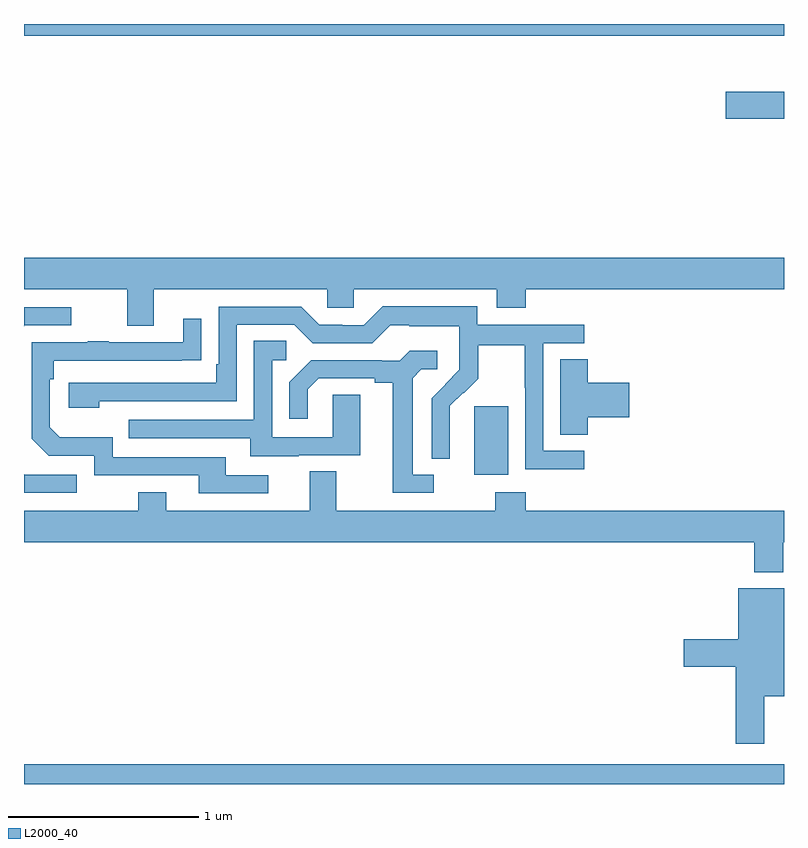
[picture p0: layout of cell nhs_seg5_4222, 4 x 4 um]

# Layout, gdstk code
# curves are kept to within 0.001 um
import gdstk
lib = gdstk.Library(unit=1e-6, precision=1e-09)
def R(c, l, rs):  # rectangles x0, y0, x1, y1
    for r in rs: c.add(gdstk.rectangle(r[:2], r[2:], *l))
def P(c, l, *ps):  # polygons
    for p in ps: c.add(gdstk.Polygon(p, *l))
L2000_40 = (2000, 40)

nhs_seg5_4222 = lib.new_cell('nhs_seg5_4222')
R(nhs_seg5_4222, L2000_40, [(359,876.799,363,876.904), (361.37,878.426,361.549,878.787), (362.694,880.301,363,880.443), (359,880.736,363,880.799)])
P(nhs_seg5_4222, L2000_40, [(359.683,879.404),(360.597,879.404),(360.597,879.306),(360.735,879.306),(360.735,879.404),(361.487,879.404),(361.487,879.305),(361.64,879.305),(361.64,879.404),(363,879.404),(363,879.568),(359,879.568),(359,879.404),(359.543,879.404),(359.543,879.21),(359.683,879.21)],
  [(361.948,878.553),(361.734,878.553),(361.734,879.12),(361.948,879.12),(361.948,879.216),(361.386,879.216),(361.386,879.313),(360.889,879.313),(360.789,879.213),(360.674,879.213),(360.674,879.216),(360.555,879.216),(360.459,879.312),(360.024,879.312),(360.024,879.007),(360.011,879.007),(360.011,878.91),(359.235,878.91),(359.235,878.78),(359.396,878.78),(359.396,878.814),(360.12,878.814),(360.12,879.216),(360.423,879.216),(360.519,879.12),(360.834,879.12),(360.927,879.213),(361.027,879.213),(361.027,879.209),(361.29,879.209),(361.29,879.075),(361.292,879.075),(361.292,878.978),(361.146,878.83),(361.146,878.512),(361.242,878.512),(361.241,878.789),(361.311,878.859),(361.314,878.856),(361.391,878.933),(361.391,879.108),(361.636,879.108),(361.636,878.884),(361.638,878.884),(361.638,878.455),(361.948,878.455)],
  [(359.004,879.213),(359.248,879.213),(359.248,879.309),(359,879.309),(359,879.209)],
  [(360.286,878.424),(360.061,878.424),(360.061,878.52),(359.466,878.52),(359.466,878.623),(359.189,878.623),(359.136,878.676),(359.136,878.93),(359.156,878.93),(359.156,879.027),(359.933,879.028),(359.933,879.247),(359.837,879.247),(359.837,879.123),(359.447,879.123),(359.447,879.128),(359.335,879.128),(359.335,879.123),(359.04,879.123),(359.04,878.616),(359.13,878.526),(359.37,878.526),(359.37,878.424),(359.921,878.424),(359.921,878.328),(360.286,878.328)],
  [(360.445,878.529),(360.769,878.529),(360.769,878.849),(360.624,878.849),(360.624,878.625),(360.306,878.625),(360.306,879.03),(360.379,879.03),(360.379,879.131),(360.21,879.131),(360.21,878.715),(359.551,878.715),(359.551,878.619),(360.191,878.619),(360.191,878.525),(360.445,878.525)],
  [(361.156,878.427),(361.045,878.427),(361.045,878.935),(361.092,878.982),(361.174,878.982),(361.174,879.079),(361.03,879.079),(360.978,879.027),(360.884,879.027),(360.884,879.03),(360.512,879.03),(360.396,878.914),(360.396,878.721),(360.493,878.721),(360.493,878.877),(360.55,878.934),(360.845,878.934),(360.845,878.912),(360.941,878.912),(360.941,878.331),(361.156,878.331)],
  [(361.967,878.729),(362.185,878.729),(362.185,878.912),(361.967,878.912),(361.967,879.035),(361.823,879.035),(361.823,878.638),(361.967,878.638)],
  [(362.995,878.072),(363,878.072),(363,878.236),(361.64,878.236),(361.64,878.335),(361.48,878.335),(361.48,878.236),(360.643,878.236),(360.643,878.444),(360.503,878.444),(360.503,878.236),(359.749,878.236),(359.749,878.335),(359.602,878.335),(359.602,878.236),(359,878.236),(359,878.072),(362.843,878.072),(362.843,877.913),(362.995,877.913)],
  [(359.278,878.427),(359.001,878.427),(359,878.428),(359,878.331),(359.278,878.331)],
  [(362.896,877.262),(363,877.262),(363,877.828),(362.759,877.828),(362.759,877.562),(362.472,877.562),(362.472,877.415),(362.747,877.415),(362.747,877.011),(362.896,877.011)])

lib.write_gds('nhs_seg5_4222.gds')
